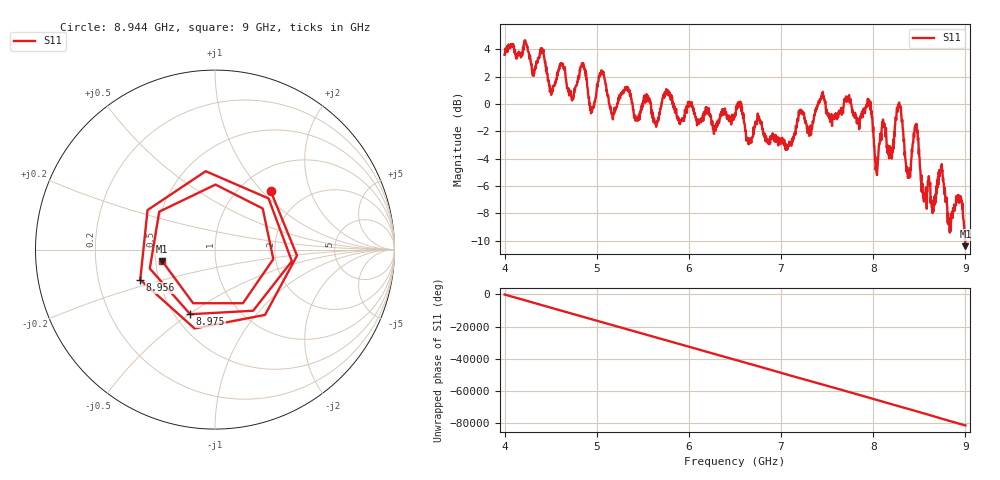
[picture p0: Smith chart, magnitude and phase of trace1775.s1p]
! Created with skrf 1.8.0 (http://scikit-rf.org).
# Hz S RI R 50.0
!freq ReS11 ImS11
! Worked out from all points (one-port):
!   1601 points, 4 GHz to 9 GHz, reference 50 ohm
!   lowest |S11| = -10.4 dB at 9 GHz (marker M1), VSWR 1.86, Z = 27 - j3.74 ohm
!   |S11| at or under -10 dB: 8.997901 GHz to end of sweep
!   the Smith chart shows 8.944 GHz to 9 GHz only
!   S11 on the Smith chart (normalised r, x): 8.944 GHz: 1.36, +1.12; 8.956 GHz: 0.39, -0.17; 8.975 GHz: 0.60, -0.51; 9 GHz: 0.54, -0.07
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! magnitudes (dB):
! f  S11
! 4 GHz  3.6
! 4.406 GHz  3.8
! 4.509 GHz  0.9
! 4.625 GHz  2.8
! 4.725 GHz  0.5
! 4.853 GHz  3.0
! 4.944 GHz  -0.4
! 5.047 GHz  2.3
! 5.162 GHz  -0.7
! 5.25 GHz  0.7
! 5.875 GHz  -0.9
! 6.5 GHz  -0.7
! 7.125 GHz  -2.5
! 7.75 GHz  0.3
! 7.959 GHz  -0.2
! 8.034 GHz  -4.9
! 8.116 GHz  -1.7
! 8.194 GHz  -3.5
! 8.281 GHz  0.1
! 8.375 GHz  -5.4
! 8.462 GHz  -1.9
! 8.556 GHz  -7.1
! 8.734 GHz  -4.8
! 8.828 GHz  -9.2
! 8.944 GHz  -6.9
! 8.956 GHz  -6.9
! 8.975 GHz  -8.3
! 9 GHz  -10.4
